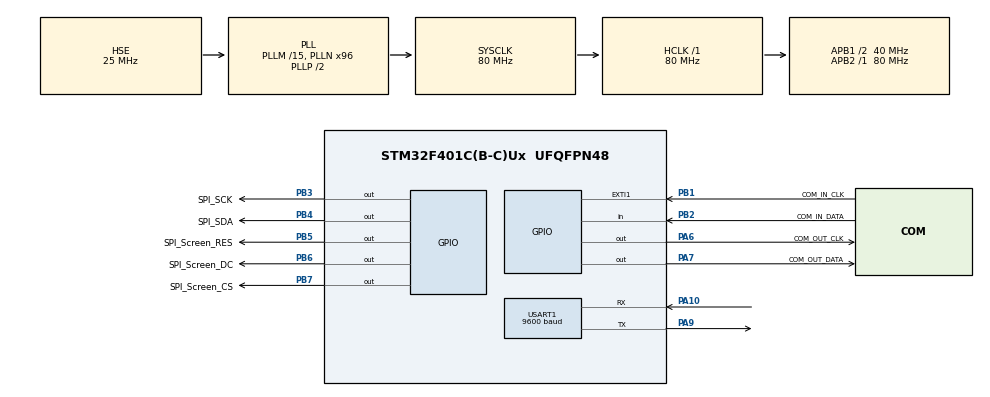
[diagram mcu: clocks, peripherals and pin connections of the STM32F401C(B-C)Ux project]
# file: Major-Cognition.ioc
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Mcu.Family=STM32F4
Mcu.Name=STM32F401C(B-C)Ux
Mcu.Package=UFQFPN48
NVIC.EXTI1_IRQn=true\:6\:0\:true\:false\:true\:true\:true\:true
NVIC.PriorityGroup=NVIC_PRIORITYGROUP_4
NVIC.TIM2_IRQn=true\:10\:0\:true\:false\:true\:true\:true\:true
NVIC.TIM3_IRQn=true\:7\:0\:true\:false\:true\:true\:true\:true
NVIC.TIM5_IRQn=true\:8\:0\:true\:false\:true\:true\:true\:true
NVIC.USART1_IRQn=true\:9\:0\:true\:false\:true\:true\:true\:true
PA10.Mode=Asynchronous
PA10.Signal=USART1_RX
PA13.Mode=Serial_Wire
PA13.Signal=SYS_JTMS-SWDIO
PA14.Mode=Serial_Wire
PA14.Signal=SYS_JTCK-SWCLK
PA6.GPIO_Label=COM_OUT_CLK
PA6.GPIO_PuPd=GPIO_PULLDOWN
PA6.GPIO_Speed=GPIO_SPEED_FREQ_HIGH
PA6.Signal=GPIO_Output
PA7.GPIO_Label=COM_OUT_DATA
PA7.GPIO_PuPd=GPIO_PULLDOWN
PA7.GPIO_Speed=GPIO_SPEED_FREQ_HIGH
PA7.Signal=GPIO_Output
PA9.Mode=Asynchronous
PA9.Signal=USART1_TX
PB1.GPIO_Label=COM_IN_CLK
PB1.Signal=GPXTI1
PB2.GPIO_Label=COM_IN_DATA
PB2.Signal=GPIO_Input
PB3.GPIO_Label=SPI_SCK
PB3.GPIO_Speed=GPIO_SPEED_FREQ_VERY_HIGH
PB3.Signal=GPIO_Output
PB4.GPIO_Label=SPI_SDA
PB4.GPIO_Speed=GPIO_SPEED_FREQ_VERY_HIGH
PB4.Signal=GPIO_Output
PB5.GPIO_Label=SPI_Screen_RES
PB5.GPIO_Speed=GPIO_SPEED_FREQ_VERY_HIGH
PB5.Signal=GPIO_Output
PB6.GPIO_Label=SPI_Screen_DC
PB6.GPIO_Speed=GPIO_SPEED_FREQ_VERY_HIGH
PB6.Signal=GPIO_Output
PB7.GPIO_Label=SPI_Screen_CS
PB7.GPIO_Speed=GPIO_SPEED_FREQ_VERY_HIGH
PB7.Signal=GPIO_Output
PC14-OSC32_IN.Mode=LSE-External-Oscillator
PC14-OSC32_IN.Signal=RCC_OSC32_IN
PC15-OSC32_OUT.Mode=LSE-External-Oscillator
PC15-OSC32_OUT.Signal=RCC_OSC32_OUT
PH0\ -\ OSC_IN.Mode=HSE-External-Oscillator
PH0\ -\ OSC_IN.Signal=RCC_OSC_IN
PH1\ -\ OSC_OUT.Mode=HSE-External-Oscillator
PH1\ -\ OSC_OUT.Signal=RCC_OSC_OUT
ProjectManager.HeapSize=0x200
ProjectManager.StackSize=0x400
ProjectManager.TargetToolchain=CMake
RCC.48MHZClocksFreq_Value=40000000
RCC.AHBFreq_Value=80000000
RCC.APB1CLKDivider=RCC_HCLK_DIV2
RCC.APB1Freq_Value=40000000
RCC.APB1TimFreq_Value=80000000
RCC.APB2Freq_Value=80000000
RCC.APB2TimFreq_Value=80000000
RCC.CortexFreq_Value=80000000
RCC.HCLKFreq_Value=80000000
RCC.HSE_VALUE=25000000
RCC.HSI_VALUE=16000000
RCC.PLLM=15
RCC.PLLN=96
RCC.PLLSourceVirtual=RCC_PLLSOURCE_HSE
RCC.SYSCLKFreq_VALUE=80000000
RCC.SYSCLKSource=RCC_SYSCLKSOURCE_PLLCLK
RCC.VCOOutputFreq_Value=160000000
TIM2.AutoReloadPreload=TIM_AUTORELOAD_PRELOAD_ENABLE
TIM2.Period=40000000-1
TIM3.AutoReloadPreload=TIM_AUTORELOAD_PRELOAD_ENABLE
TIM3.Period=10000-1
TIM5.AutoReloadPreload=TIM_AUTORELOAD_PRELOAD_ENABLE
TIM5.ClockDivision=TIM_CLOCKDIVISION_DIV1
TIM5.Period=80000000-1
USART1.BaudRate=9600
USART1.VirtualMode=VM_ASYNC
VP_TIM2_VS_ClockSourceINT.Mode=Internal
VP_TIM3_VS_ClockSourceINT.Mode=Internal
VP_TIM5_VS_ClockSourceINT.Mode=Internal
board=custom

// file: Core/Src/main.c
/* USER CODE BEGIN Header */
/**
 ******************************************************************************
 * @file           : main.c
 * @brief          : Main program body
 ******************************************************************************
 * @attention
 *
 * Copyright (c) 2024 STMicroelectronics.
 * All rights reserved.
 *
 * This software is licensed under terms that can be found in the LICENSE file
 * in the root directory of this software component.
 * If no LICENSE file comes with this software, it is provided AS-IS.
 *
 ******************************************************************************
 */
/* USER CODE END Header */
#include "main.h"

/* USER CODE BEGIN Includes */
#include "oled.h"

#include <stdlib.h>
#include <stdint.h>
#include <string.h>

/* USER CODE END Includes */

/* USER CODE BEGIN PD */
#define COLOR_GREEN 2
#define COLOR_YELLOW 1
#define COLOR_RED 0

/* USER CODE END PD */

TIM_HandleTypeDef htim2;
TIM_HandleTypeDef htim3;
TIM_HandleTypeDef htim5;

UART_HandleTypeDef huart1;

/* USER CODE BEGIN PV */

uint8_t isStrated = 0;
uint8_t trainDistance = 255;
uint32_t trainDistanceRaw = 2550000 << 8;
uint8_t lightStatus = 0;
uint8_t lightStatusNew = 1;
uint8_t timeLast = 0;
uint8_t lightFlashStatus = 0;

// Light channels in 4 combination to show
uint8_t lightPerset[4][10] = {
    {COLOR_GREEN, COLOR_RED, COLOR_GREEN, COLOR_RED, COLOR_RED, COLOR_RED, COLOR_GREEN, COLOR_GREEN, COLOR_RED, COLOR_RED},
    {COLOR_GREEN, COLOR_GREEN, COLOR_RED, COLOR_RED, COLOR_RED, COLOR_GREEN, COLOR_GREEN, COLOR_RED, COLOR_GREEN, COLOR_RED},
    {COLOR_RED, COLOR_GREEN, COLOR_RED, COLOR_RED, COLOR_RED, COLOR_GREEN, COLOR_GREEN, COLOR_RED, COLOR_GREEN, COLOR_GREEN},
    {COLOR_RED, COLOR_RED, COLOR_RED, COLOR_GREEN, COLOR_GREEN, COLOR_GREEN, COLOR_RED, COLOR_GREEN, COLOR_GREEN, COLOR_RED}};

uint8_t lightTimePerset[4] = {10, 10, 10, 10};

uint8_t lightScreenCoord[4][2] = {
    {3, 56},
    {3, 51},
    {123, 37},
    {56, 3}};

// Distance send and receive
uint8_t sendTemp[3] = {0};
uint8_t receiveTemp[3] = {0};
uint8_t sendBit = 0;
uint8_t receiveBit = 0;
uint8_t isSending = 0;
uint8_t isReceiving = 0;
uint32_t sendTime = 0;
uint32_t receiveTime = 0;

/* USER CODE END PV */

void SystemClock_Config(void);
static void MX_GPIO_Init(void);
static void MX_TIM2_Init(void);
static void MX_USART1_UART_Init(void);
static void MX_TIM5_Init(void);
static void MX_TIM3_Init(void);
/* USER CODE BEGIN PFP */
void OLED_ShowLightStatus(uint8_t lightIndex, uint8_t lightStatus)
{
  if (lightStatus == COLOR_GREEN || lightStatus == COLOR_YELLOW)
  {
    lightStatus = 1;
  }
  else
  {
    lightStatus = 0;
  }
  switch (lightIndex)
  {
  case 0:
    OLED_DrawPoint(lightScreenCoord[lightIndex][0], lightScreenCoord[lightIndex][1], lightStatus);
    OLED_DrawPoint(lightScreenCoord[lightIndex][0] + 1, lightScreenCoord[lightIndex][1], lightStatus);
    OLED_DrawPoint(lightScreenCoord[lightIndex][0], lightScreenCoord[lightIndex][1] + 1, lightStatus);
    OLED_DrawPoint(lightScreenCoord[lightIndex][0] + 1, lightScreenCoord[lightIndex][1] + 1, lightStatus);
    OLED_DrawLine(7, 56, 120, 56, lightStatus);
    break;
  case 1:
    OLED_DrawPoint(lightScreenCoord[lightIndex][0], lightScreenCoord[lightIndex][1], lightStatus);
    OLED_DrawPoint(lightScreenCoord[lightIndex][0] + 1, lightScreenCoord[lightIndex][1], lightStatus);
    OLED_DrawPoint(lightScreenCoord[lightIndex][0], lightScreenCoord[lightIndex][1] + 1, lightStatus);
    OLED_DrawPoint(lightScreenCoord[lightIndex][0] + 1, lightScreenCoord[lightIndex][1] + 1, lightStatus);
    OLED_DrawLine(7, 51, 70, 51, lightStatus);
    OLED_DrawLine(70, 7, 70, 51, lightStatus);
    break;
  case 2:
    OLED_DrawPoint(lightScreenCoord[lightIndex][0], lightScreenCoord[lightIndex][1], lightStatus);
    OLED_DrawPoint(lightScreenCoord[lightIndex][0] + 1, lightScreenCoord[lightIndex][1], lightStatus);
    OLED_DrawPoint(lightScreenCoord[lightIndex][0], lightScreenCoord[lightIndex][1] + 1, lightStatus);
    OLED_DrawPoint(lightScreenCoord[lightIndex][0] + 1, lightScreenCoord[lightIndex][1] + 1, lightStatus);
    OLED_DrawLine(7, 37, 120, 37, lightStatus);
    break;
  case 3:
    OLED_DrawPoint(lightScreenCoord[lightIndex][0], lightScreenCoord[lightIndex][1], lightStatus);
    OLED_DrawPoint(lightScreenCoord[lightIndex][0] + 1, lightScreenCoord[lightIndex][1], lightStatus);
    OLED_DrawPoint(lightScreenCoord[lightIndex][0], lightScreenCoord[lightIndex][1] + 1, lightStatus);
    OLED_DrawPoint(lightScreenCoord[lightIndex][0] + 1, lightScreenCoord[lightIndex][1] + 1, lightStatus);
    OLED_DrawLine(57, 7, 57, 51, lightStatus);
    OLED_DrawLine(57, 51, 120, 51, lightStatus);
    break;

  case 4:
    OLED_DrawLine(53, 41, 53, 58, lightStatus);
    break;
  case 5:
    OLED_DrawLine(53, 36, 53, 39, lightStatus);
    break;
  case 6:
    OLED_DrawLine(55, 34, 58, 34, lightStatus);
    break;
  case 7:
    OLED_DrawLine(60, 34, 72, 34, lightStatus);
    break;
  case 8:
    OLED_DrawLine(74, 36, 74, 39, lightStatus);
    break;
  case 9:
    OLED_DrawLine(74, 41, 74, 58, lightStatus);
    break;

  default:
    break;
  }
}
void OLED_ShowTrainStatus(uint8_t isTrain)
{
  if (isTrain)
  {
    OLED_DrawLine(63, 2, 63, 46, 1);
    OLED_DrawLine(64, 2, 64, 46, 1);
    OLED_DrawLine(2, 44, 64, 44, 1);
    OLED_DrawLine(2, 45, 64, 45, 1);
  }
  else
  {
    OLED_DrawLine(63, 2, 63, 46, 0);
    OLED_DrawLine(64, 2, 64, 46, 0);
    OLED_DrawLine(2, 44, 64, 44, 0);
    OLED_DrawLine(2, 45, 64, 45, 0);
  }
}

void HAL_TIM_PeriodElapsedCallback(TIM_HandleTypeDef *htim)
{
  /* Prevent unused argument(s) compilation warning */
  UNUSED(htim);

  // 2Hz, for screen show
  if (htim == &htim2)
  {
    if (timeLast == 0)
    {
      // Change light status
      for (uint8_t i = 0; i < 10; i++)
      {
        if (lightPerset[lightStatus][i] > lightPerset[lightStatusNew][i])
        {
          OLED_ShowLightStatus(i, lightPerset[lightStatusNew][i]);
        }
      }
      for (uint8_t i = 0; i < 10; i++)
      {
        if (lightPerset[lightStatus][i] < lightPerset[lightStatusNew][i])
        {
          OLED_ShowLightStatus(i, lightPerset[lightStatusNew][i]);
        }
      }

      // Set new status
      lightStatus = lightStatusNew;
      lightStatusNew = (lightStatusNew + 1) % 4;
      timeLast = lightTimePerset[lightStatus];
    }
    else if (timeLast < 3)
    {
      // Flash light
      for (uint8_t i = 0; i < 10; i++)
      {
        if (lightPerset[lightStatus][i] > lightPerset[lightStatusNew][i])
        {
          OLED_ShowLightStatus(i, (lightPerset[lightStatus][i] && lightFlashStatus));
        }
      }
      lightFlashStatus = (lightFlashStatus + 1) % 2;
    }
    // Train arrived or leave
    if ((lightStatus == 1 || lightStatus == 2) && trainDistance < 20)
    {
      OLED_ShowTrainStatus(1);
    }
    else if (lightStatus == 1 || lightStatus == 2)
    {
      OLED_ShowTrainStatus(0);
    }
    // Some information
    OLED_ShowNum(0, 0, trainDistance, 3, 8, 1);
    OLED_ShowNum(0, 10, timeLast, 2, 8, 1);
    OLED_Refresh();

    return;
  }
  // 1Hz, for time control
  else if (htim == &htim5)
  {
    // Decrease time
    if (timeLast)
    {
      timeLast--;
      // Train arrived
      if (timeLast > 3 && trainDistance < 20 && (lightStatus == 0 || lightStatus == 3))
      {
        timeLast = 3;
        lightStatusNew = 1;
      }
      else if (timeLast < 6 && trainDistance < 20 && lightStatus == 2)
      {
        timeLast = 6;
      }
    }

    // SR04 get distance
    uint8_t data = 0xA0;
    HAL_UART_Transmit(&huart1, &data, 1, 50);
    uint8_t distanceBytes[3] = {0};
    HAL_UART_Receive(&huart1, distanceBytes, 3, 250);
    // Start distance send
    if (!isSending)
    {
      isSending = 1;
      sendBit = 0;
      memcpy(sendTemp, distanceBytes, sizeof(sendTemp));
      HAL_TIM_Base_Start_IT(&htim3);
    }
    return;
  }
  // 8kHz, for distance send
  else if (htim == &htim3)
  {
    // Send distance
    if (isSending)
    {
      uint8_t data = (sendTemp[sendBit / 8] >> (7 - sendBit % 8)) & 0x01;
      HAL_GPIO_WritePin(COM_OUT_DATA_GPIO_Port, COM_OUT_DATA_Pin, data);
      HAL_GPIO_WritePin(COM_OUT_CLK_GPIO_Port, COM_OUT_CLK_Pin, GPIO_PIN_SET);
      HAL_GPIO_WritePin(COM_OUT_CLK_GPIO_Port, COM_OUT_CLK_Pin, GPIO_PIN_RESET);
      sendBit++;
      if (sendBit == 24)
      {
        isSending = 0;
        HAL_TIM_Base_Stop_IT(&htim3);
        sendTime = HAL_GetTick();
      }
    }
    return;
  }
}

void HAL_GPIO_EXTI_Callback(uint16_t GPIO_Pin)
{
  /* Prevent unused argument(s) compilation warning */
  UNUSED(GPIO_Pin);

  // Receive distance
  if (GPIO_Pin == COM_IN_CLK_Pin)
  {
    // New frame
    if (isReceiving == 0)
    {
      receiveBit = 0;
      isReceiving = 1;
      memset(receiveTemp, 0, sizeof(receiveTemp));
    }
    // Frame in bad time, might be wrong
    if (HAL_GetTick() - receiveTime < 200)
    {
      isReceiving = 0;
      receiveBit = 0;
      return;
    }
    // Get data
    uint8_t data = HAL_GPIO_ReadPin(COM_IN_DATA_GPIO_Port, COM_IN_DATA_Pin);
    receiveTemp[receiveBit / 8] |= data << (7 - receiveBit % 8);
    receiveBit++;
    if (receiveBit == 24)
    {
      isReceiving = 0;
      receiveBit = 0;
      receiveTime = HAL_GetTick();
      // Set train distance
      trainDistanceRaw = ((uint32_t)receiveTemp[0] << 16) | ((uint32_t)receiveTemp[1] << 8) | receiveTemp[2];
      trainDistance = (trainDistanceRaw / 10000) < 100 ? trainDistanceRaw / 10000 : 100;
    }
  }
}

/* USER CODE END PFP */

int main(void)
{

  /* MCU Configuration--------------------------------------------------------*/

  /* Reset of all peripherals, Initializes the Flash interface and the Systick. */
  HAL_Init();

  /* Configure the system clock */
  SystemClock_Config();

  /* Initialize all configured peripherals */
  MX_GPIO_Init();
  MX_TIM2_Init();
  MX_USART1_UART_Init();
  MX_TIM5_Init();
  MX_TIM3_Init();
  /* USER CODE BEGIN 2 */
  // Initial screen
  OLED_Init();
  OLED_DisPlay_On();
  OLED_Clear();
  OLED_ShowString(0, 0, (unsigned char *)"Traffic Light", 16, 1);
  OLED_ShowString(0, 18, (unsigned char *)"at The West Gate", 16, 1);
  OLED_ShowString(0, 36, (unsigned char *)"of UESTC", 16, 1);
  OLED_ShowString(0, 54, (unsigned char *)"Made By: ZhongWwwHhh", 8, 1);
  OLED_Refresh();
  HAL_Delay(1500);

  // Basic content
  OLED_Clear();
  OLED_DrawLine(2, 33, 53, 33, 1);
  OLED_DrawLine(2, 34, 53, 34, 1);
  OLED_DrawLine(52, 2, 52, 34, 1);
  OLED_DrawLine(53, 2, 53, 35, 1);
  OLED_DrawLine(74, 2, 74, 34, 1);
  OLED_DrawLine(75, 2, 75, 34, 1);
  OLED_DrawLine(74, 33, 125, 33, 1);
  OLED_DrawLine(74, 34, 125, 34, 1);
  OLED_DrawLine(60, 2, 60, 32, 1);
  OLED_DrawLine(61, 2, 61, 32, 1);
  OLED_DrawLine(66, 2, 66, 32, 1);
  OLED_DrawLine(67, 2, 67, 32, 1);
  OLED_DrawLine(2, 41, 51, 41, 1);
  OLED_DrawLine(2, 42, 51, 42, 1);
  OLED_DrawLine(2, 47, 51, 47, 1);
  OLED_DrawLine(2, 48, 51, 48, 1);
  for (uint8_t i = 41; i <= 48; i++)
  {
    OLED_DrawLine(76, i, 125, i, 1);
  }
  OLED_DrawLine(2, 60, 125, 60, 1);
  OLED_DrawLine(2, 61, 125, 61, 1);
  for (uint8_t i = 0; i < 4; i++)
  {
    OLED_DrawLine(lightScreenCoord[i][0] - 1, lightScreenCoord[i][1] - 1, lightScreenCoord[i][0] + 2, lightScreenCoord[i][1] - 1, 1);
    OLED_DrawLine(lightScreenCoord[i][0] - 1, lightScreenCoord[i][1] + 2, lightScreenCoord[i][0] + 2, lightScreenCoord[i][1] + 2, 1);
    OLED_DrawLine(lightScreenCoord[i][0] - 1, lightScreenCoord[i][1] - 1, lightScreenCoord[i][0] - 1, lightScreenCoord[i][1] + 2, 1);
    OLED_DrawLine(lightScreenCoord[i][0] + 2, lightScreenCoord[i][1] - 1, lightScreenCoord[i][0] + 2, lightScreenCoord[i][1] + 3, 1);
  }
  for (uint8_t i = 0; i < 10; i++)
  {
    if (lightPerset[lightStatus][i] == COLOR_RED)
    {
      OLED_ShowLightStatus(i, lightPerset[lightStatusNew][i]);
    }
  }
  for (uint8_t i = 0; i < 10; i++)
  {
    if (lightPerset[lightStatus][i] == COLOR_GREEN)
    {
      OLED_ShowLightStatus(i, lightPerset[lightStatusNew][i]);
    }
  }
  OLED_Refresh();

  // Mark to started
  isStrated = 1;

  // Start timer
  HAL_TIM_Base_Start_IT(&htim2);
  HAL_TIM_Base_Start_IT(&htim5);

  /* USER CODE END 2 */

  /* Infinite loop */
  while (1)
  {

    /* USER CODE BEGIN 3 */
    // Useless
    HAL_Delay(1000);
  }
  /* USER CODE END 3 */
}

void SystemClock_Config(void)
{
  RCC_OscInitTypeDef RCC_OscInitStruct = {0};
  RCC_ClkInitTypeDef RCC_ClkInitStruct = {0};

  /** Configure the main internal regulator output voltage
   */
  __HAL_RCC_PWR_CLK_ENABLE();
  __HAL_PWR_VOLTAGESCALING_CONFIG(PWR_REGULATOR_VOLTAGE_SCALE2);

  /** Initializes the RCC Oscillators according to the specified parameters
   * in the RCC_OscInitTypeDef structure.
   */
  RCC_OscInitStruct.OscillatorType = RCC_OSCILLATORTYPE_HSE;
  RCC_OscInitStruct.HSEState = RCC_HSE_ON;
  RCC_OscInitStruct.PLL.PLLState = RCC_PLL_ON;
  RCC_OscInitStruct.PLL.PLLSource = RCC_PLLSOURCE_HSE;
  RCC_OscInitStruct.PLL.PLLM = 15;
  RCC_OscInitStruct.PLL.PLLN = 96;
  RCC_OscInitStruct.PLL.PLLP = RCC_PLLP_DIV2;
  RCC_OscInitStruct.PLL.PLLQ = 4;
  if (HAL_RCC_OscConfig(&RCC_OscInitStruct) != HAL_OK)
  {
    Error_Handler();
  }

  /** Initializes the CPU, AHB and APB buses clocks
   */
  RCC_ClkInitStruct.ClockType = RCC_CLOCKTYPE_HCLK | RCC_CLOCKTYPE_SYSCLK | RCC_CLOCKTYPE_PCLK1 | RCC_CLOCKTYPE_PCLK2;
  RCC_ClkInitStruct.SYSCLKSource = RCC_SYSCLKSOURCE_PLLCLK;
  RCC_ClkInitStruct.AHBCLKDivider = RCC_SYSCLK_DIV1;
  RCC_ClkInitStruct.APB1CLKDivider = RCC_HCLK_DIV2;
  RCC_ClkInitStruct.APB2CLKDivider = RCC_HCLK_DIV1;

  if (HAL_RCC_ClockConfig(&RCC_ClkInitStruct, FLASH_LATENCY_2) != HAL_OK)
  {
    Error_Handler();
  }
}

static void MX_TIM2_Init(void)
{

  TIM_ClockConfigTypeDef sClockSourceConfig = {0};
  TIM_MasterConfigTypeDef sMasterConfig = {0};

  htim2.Instance = TIM2;
  htim2.Init.Prescaler = 0;
  htim2.Init.CounterMode = TIM_COUNTERMODE_UP;
  htim2.Init.Period = 40000000 - 1;
  htim2.Init.ClockDivision = TIM_CLOCKDIVISION_DIV1;
  htim2.Init.AutoReloadPreload = TIM_AUTORELOAD_PRELOAD_ENABLE;
  if (HAL_TIM_Base_Init(&htim2) != HAL_OK)
  {
    Error_Handler();
  }
  sClockSourceConfig.ClockSource = TIM_CLOCKSOURCE_INTERNAL;
  if (HAL_TIM_ConfigClockSource(&htim2, &sClockSourceConfig) != HAL_OK)
  {
    Error_Handler();
  }
  sMasterConfig.MasterOutputTrigger = TIM_TRGO_RESET;
  sMasterConfig.MasterSlaveMode = TIM_MASTERSLAVEMODE_DISABLE;
  if (HAL_TIMEx_MasterConfigSynchronization(&htim2, &sMasterConfig) != HAL_OK)
  {
    Error_Handler();
  }
}

static void MX_TIM3_Init(void)
{

  TIM_ClockConfigTypeDef sClockSourceConfig = {0};
  TIM_MasterConfigTypeDef sMasterConfig = {0};

  htim3.Instance = TIM3;
  htim3.Init.Prescaler = 0;
  htim3.Init.CounterMode = TIM_COUNTERMODE_UP;
  htim3.Init.Period = 10000 - 1;
  htim3.Init.ClockDivision = TIM_CLOCKDIVISION_DIV1;
  htim3.Init.AutoReloadPreload = TIM_AUTORELOAD_PRELOAD_ENABLE;
  if (HAL_TIM_Base_Init(&htim3) != HAL_OK)
  {
    Error_Handler();
  }
  sClockSourceConfig.ClockSource = TIM_CLOCKSOURCE_INTERNAL;
  if (HAL_TIM_ConfigClockSource(&htim3, &sClockSourceConfig) != HAL_OK)
  {
    Error_Handler();
  }
  sMasterConfig.MasterOutputTrigger = TIM_TRGO_RESET;
  sMasterConfig.MasterSlaveMode = TIM_MASTERSLAVEMODE_DISABLE;
  if (HAL_TIMEx_MasterConfigSynchronization(&htim3, &sMasterConfig) != HAL_OK)
  {
    Error_Handler();
  }
}

static void MX_TIM5_Init(void)
{

  TIM_ClockConfigTypeDef sClockSourceConfig = {0};
  TIM_MasterConfigTypeDef sMasterConfig = {0};

  htim5.Instance = TIM5;
  htim5.Init.Prescaler = 0;
  htim5.Init.CounterMode = TIM_COUNTERMODE_UP;
  htim5.Init.Period = 80000000 - 1;
  htim5.Init.ClockDivision = TIM_CLOCKDIVISION_DIV1;
  htim5.Init.AutoReloadPreload = TIM_AUTORELOAD_PRELOAD_ENABLE;
  if (HAL_TIM_Base_Init(&htim5) != HAL_OK)
  {
    Error_Handler();
  }
  sClockSourceConfig.ClockSource = TIM_CLOCKSOURCE_INTERNAL;
  if (HAL_TIM_ConfigClockSource(&htim5, &sClockSourceConfig) != HAL_OK)
  {
    Error_Handler();
  }
  sMasterConfig.MasterOutputTrigger = TIM_TRGO_RESET;
  sMasterConfig.MasterSlaveMode = TIM_MASTERSLAVEMODE_DISABLE;
  if (HAL_TIMEx_MasterConfigSynchronization(&htim5, &sMasterConfig) != HAL_OK)
  {
    Error_Handler();
  }
}

static void MX_USART1_UART_Init(void)
{

  huart1.Instance = USART1;
  huart1.Init.BaudRate = 9600;
  huart1.Init.WordLength = UART_WORDLENGTH_8B;
  huart1.Init.StopBits = UART_STOPBITS_1;
  huart1.Init.Parity = UART_PARITY_NONE;
  huart1.Init.Mode = UART_MODE_TX_RX;
  huart1.Init.HwFlowCtl = UART_HWCONTROL_NONE;
  huart1.Init.OverSampling = UART_OVERSAMPLING_16;
  if (HAL_UART_Init(&huart1) != HAL_OK)
  {
    Error_Handler();
  }
}

static void MX_GPIO_Init(void)
{
  GPIO_InitTypeDef GPIO_InitStruct = {0};

  /* GPIO Ports Clock Enable */
  __HAL_RCC_GPIOC_CLK_ENABLE();
  __HAL_RCC_GPIOH_CLK_ENABLE();
  __HAL_RCC_GPIOA_CLK_ENABLE();
  __HAL_RCC_GPIOB_CLK_ENABLE();

  /*Configure GPIO pin Output Level */
  HAL_GPIO_WritePin(GPIOA, COM_OUT_CLK_Pin | COM_OUT_DATA_Pin, GPIO_PIN_RESET);

  /*Configure GPIO pin Output Level */
  HAL_GPIO_WritePin(GPIOB, SPI_SCK_Pin | SPI_SDA_Pin | SPI_Screen_RES_Pin | SPI_Screen_DC_Pin | SPI_Screen_CS_Pin, GPIO_PIN_RESET);

  /*Configure GPIO pins : COM_OUT_CLK_Pin COM_OUT_DATA_Pin */
  GPIO_InitStruct.Pin = COM_OUT_CLK_Pin | COM_OUT_DATA_Pin;
  GPIO_InitStruct.Mode = GPIO_MODE_OUTPUT_PP;
  GPIO_InitStruct.Pull = GPIO_PULLDOWN;
  GPIO_InitStruct.Speed = GPIO_SPEED_FREQ_HIGH;
  HAL_GPIO_Init(GPIOA, &GPIO_InitStruct);

  /*Configure GPIO pin : COM_IN_CLK_Pin */
  GPIO_InitStruct.Pin = COM_IN_CLK_Pin;
  GPIO_InitStruct.Mode = GPIO_MODE_IT_RISING;
  GPIO_InitStruct.Pull = GPIO_NOPULL;
  HAL_GPIO_Init(COM_IN_CLK_GPIO_Port, &GPIO_InitStruct);

  /*Configure GPIO pin : COM_IN_DATA_Pin */
  GPIO_InitStruct.Pin = COM_IN_DATA_Pin;
  GPIO_InitStruct.Mode = GPIO_MODE_INPUT;
  GPIO_InitStruct.Pull = GPIO_NOPULL;
  HAL_GPIO_Init(COM_IN_DATA_GPIO_Port, &GPIO_InitStruct);

  /*Configure GPIO pins : SPI_SCK_Pin SPI_SDA_Pin SPI_Screen_RES_Pin SPI_Screen_DC_Pin
                           SPI_Screen_CS_Pin */
  GPIO_InitStruct.Pin = SPI_SCK_Pin | SPI_SDA_Pin | SPI_Screen_RES_Pin | SPI_Screen_DC_Pin | SPI_Screen_CS_Pin;
  GPIO_InitStruct.Mode = GPIO_MODE_OUTPUT_PP;
  GPIO_InitStruct.Pull = GPIO_NOPULL;
  GPIO_InitStruct.Speed = GPIO_SPEED_FREQ_VERY_HIGH;
  HAL_GPIO_Init(GPIOB, &GPIO_InitStruct);

  /* EXTI interrupt init*/
  HAL_NVIC_SetPriority(EXTI1_IRQn, 6, 0);
  HAL_NVIC_EnableIRQ(EXTI1_IRQn);

}

void Error_Handler(void)
{
  __disable_irq();
  while (1)
  {
  }
}
